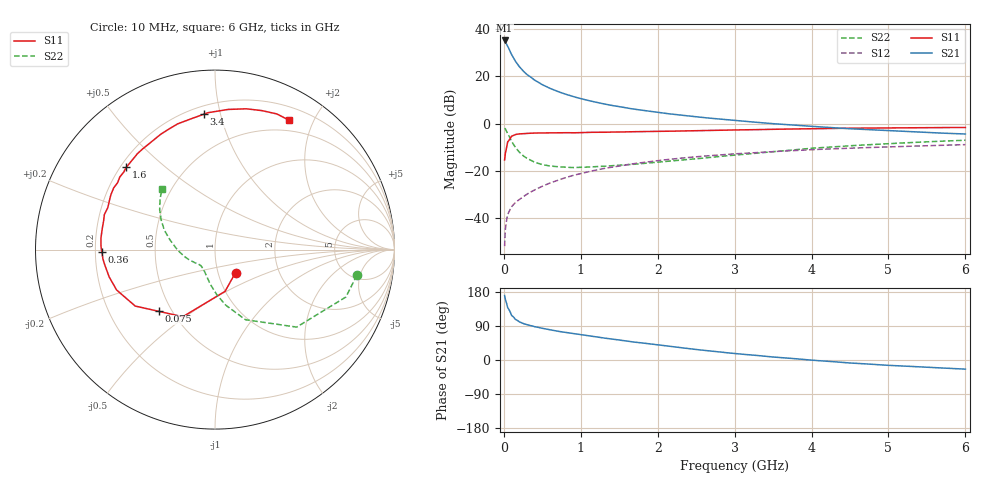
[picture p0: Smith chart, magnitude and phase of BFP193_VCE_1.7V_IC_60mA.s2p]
! (c) 2016  Infineon Technologies AG, Munich
! Infineon Technologies  Discrete & RF Semiconductors
! BFP193
! VCE = 1.7 V,  IC =  60 mA
! Common Emitter S-Parameters:  Jan 2016
# GHz  S  MA  R  50
!  f  S11  S21  S12  S22
! GHz  MAG  ANG  MAG  ANG  MAG  ANG  MAG  ANG
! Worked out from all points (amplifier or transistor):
!   210 points, 10 MHz to 6 GHz, reference 50 ohm
!   highest |S21| = 35.1 dB at 10 MHz (marker M1)
!   |S21| within 3 dB of that: start of sweep to 58.95 MHz
!   unconditionally stable (mu >= 1): start of sweep to 11.58 MHz; 364.8 MHz to 4.447 GHz
!   at 185 MHz: K = 0.80, MSG = 28.6 dB, |S12| = -32.4 dB
!   at 1.52 GHz: K = 1.11, MAG = 10.4 dB, |S12| = -17.7 dB
!   at 6 GHz: K = 0.99, MSG = 2.2 dB, |S12| = -8.8 dB
!   S11 on the Smith chart (normalised r, x): 10 MHz: 1.21, -0.32; 75 MHz: 0.43, -0.37; 360 MHz: 0.23, -0.01; 1.6 GHz: 0.22, +0.37; 3.4 GHz: 0.25, +0.89; 6 GHz: 0.36, +1.66
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0.01  0.1715 -48.1  57.12 170.0  0.0026 77.6  0.8035 -10.2
0.02  0.2392 -76.4  54.05 159.8  0.0059 72.9  0.7758 -19.9
0.05  0.4147 -115.6  43.31 138.1  0.0121 62.2  0.6272 -43.5
0.075  0.4645 -132.2  35.53 130.0  0.0148 58.5  0.5164 -52.8
0.1  0.5445 -144.7  28.82 117.9  0.0176 56.0  0.426 -66.5
0.15  0.5927 -157.7  20.74 107.3  0.0216 55.2  0.3148 -79.1
0.2  0.6087 -165.4  16.09 100.9  0.025 57.3  0.2524 -87.6
0.24  0.6158 -169.9  13.59 97.4  0.0279 58.8  0.2186 -92.8
0.3  0.6264 -175.1  10.94 93.0  0.0325 61.7  0.1862 -99.5
0.36  0.6308 -179.0  9.348 90.3  0.0369 62.9  0.1664 -104.2
0.4  0.6353 178.5  8.303 88.0  0.0399 63.6  0.154 -107.9
0.5  0.6387 174.4  6.651 83.6  0.0477 65.0  0.1368 -114.7
0.6  0.639 169.3  5.563 79.7  0.056 65.4  0.1281 -120.2
0.8  0.6466 162.5  4.201 72.8  0.0724 65.1  0.1209 -128.3
1.02  0.6511 154.1  3.316 66.1  0.0902 63.8  0.1203 -134.8
1.6  0.6742 137.2  2.142 49.9  0.1366 57.4  0.1367 -149.0
2.02  0.6906 125.8  1.714 39.4  0.1677 51.9  0.1553 -158.9
3.1  0.7404 100.5  1.133 15.3  0.2359 37.2  0.2243 175.5
3.4  0.7566 94.8  1.032 9.9  0.2522 33.5  0.2482 169.5
4.1  0.7871 83.2  0.859 -1.8  0.2873 24.7  0.3104 157.2
5.1  0.8194 70.1  0.7 -15.0  0.3276 13.3  0.3863 142.8
6  0.8306 60.4  0.606 -24.1  0.3613 3.3  0.4478 131.4
